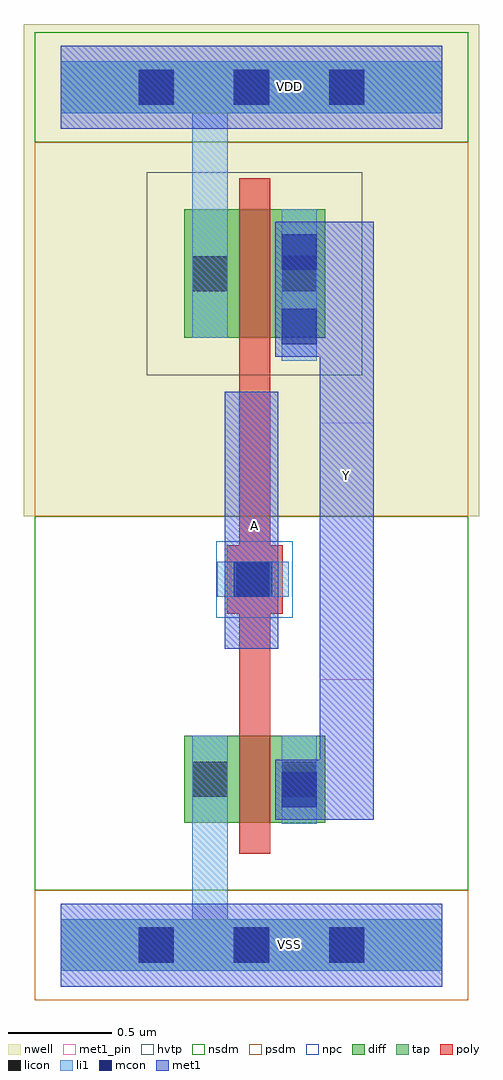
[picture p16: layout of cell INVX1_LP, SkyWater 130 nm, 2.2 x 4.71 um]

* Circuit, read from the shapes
.subckt INVX1_LP A VDD VSS Y
XM1 Y A VSS VSS sky130_fd_pr__nfet_01v8 w=0.42 l=0.15
XM2 Y A VDD VDD sky130_fd_pr__pfet_01v8_hvt w=0.62 l=0.15
.ends

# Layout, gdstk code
from math import pi, radians
import gdstk
lib = gdstk.Library(unit=1e-6, precision=1e-09)
def R(c, l, rs):  # rectangles x0, y0, x1, y1
    for r in rs: c.add(gdstk.rectangle(r[:2], r[2:], *l))
def A(c, l, x, y, w, h, nx, ny, dx, dy):  # array of equal rectangles
    R(c, l, [(x+i*dx, y+j*dy, x+i*dx+w, y+j*dy+h) for i in range(nx) for j in range(ny)])
def P(c, l, *ps):  # polygons
    for p in ps: c.add(gdstk.Polygon(p, *l))
nwell = (64, 20)
diff = (65, 20)
tap = (65, 44)
poly = (66, 20)
licon = (66, 44)
li1 = (67, 20)
mcon = (67, 44)
met1_pin = (68, 16)
met1 = (68, 20)
hvtp = (78, 44)
nsdm = (93, 44)
psdm = (94, 20)
npc = (95, 20)

l1m1_c_cdns_752016907002 = lib.new_cell('L1M1_C_CDNS_752016907002')
R(l1m1_c_cdns_752016907002, li1, [(-0.085,-0.345,0.085,0.345)])
R(l1m1_c_cdns_752016907002, mcon, [(-0.085,-0.265,0.085,-0.095), (-0.085,0.095,0.085,0.265)])
R(l1m1_c_cdns_752016907002, met1, [(-0.115,-0.325,0.115,0.325)])

l1m1_c_cdns_752016907003 = lib.new_cell('L1M1_C_CDNS_752016907003')
R(l1m1_c_cdns_752016907003, li1, [(-0.165,-0.085,0.165,0.085)])
R(l1m1_c_cdns_752016907003, mcon, [(-0.085,-0.085,0.085,0.085)])
R(l1m1_c_cdns_752016907003, met1, [(-0.115,-0.145,0.115,0.145)])

l1m1_c_cdns_752016907001 = lib.new_cell('L1M1_C_CDNS_752016907001')
R(l1m1_c_cdns_752016907001, li1, [(-0.085,-0.165,0.085,0.165)])
R(l1m1_c_cdns_752016907001, mcon, [(-0.085,-0.085,0.085,0.085)])
R(l1m1_c_cdns_752016907001, met1, [(-0.115,-0.145,0.115,0.145)])

pyl1con_c_cdns_752016907 = lib.new_cell('PYL1CON_C_CDNS_752016907000')
R(pyl1con_c_cdns_752016907, poly, [(-0.135,-0.165,0.135,0.165)])
R(pyl1con_c_cdns_752016907, licon, [(-0.085,-0.085,0.085,0.085)])
R(pyl1con_c_cdns_752016907, npc, [(-0.185,-0.185,0.185,0.185)])

invx1_lp = lib.new_cell('INVX1_LP')
R(invx1_lp, nwell, [(-0.18,2.07,2.02,4.445)])
R(invx1_lp, diff, [(0.595,0.59,1.275,1.01), (0.595,2.93,1.275,3.55)])
R(invx1_lp, poly, [(0.86,0.44,1.01,3.7)])
A(invx1_lp, licon, 0.375, -0.085, 0.17, 0.17, 3, 2, 0.46, 4.14)
R(invx1_lp, licon, [(0.635,0.715,0.805,0.885), (1.065,0.715,1.235,0.885), (0.635,3.155,0.805,3.325), (1.065,3.155,1.235,3.325)])
R(invx1_lp, li1, [(1.065,0.59,1.235,1.01), (1.065,2.93,1.235,3.55)])
P(invx1_lp, li1, [(1.84,4.265),(0,4.265),(0,4.015),(0.635,4.015),(0.635,2.93),(0.805,2.93),(0.805,4.015),(1.84,4.015)],
  [(1.84,0.125),(0.805,0.125),(0.805,1.01),(0.635,1.01),(0.635,0.125),(0,0.125),(0,-0.125),(1.84,-0.125)])
A(invx1_lp, mcon, 0.375, -0.085, 0.17, 0.17, 3, 2, 0.46, 4.14)
R(invx1_lp, met1_pin, [(1.25,1.28,1.51,2.52), (0.79,1.43,1.05,2.67)])
R(invx1_lp, hvtp, [(0.415,2.75,1.455,3.73)])
R(invx1_lp, nsdm, [(-0.125,0.265,1.965,2.07), (-0.125,3.875,1.965,4.405)])
R(invx1_lp, psdm, [(-0.125,-0.265,1.965,0.265), (-0.125,2.07,1.965,3.875)])
invx1_lp.add(gdstk.FlexPath([(1.38,3.49),(1.38,0.605)], 0.26, ends="flush", simple_path=True, layer=68, datatype=20))  # met1
invx1_lp.add(gdstk.FlexPath([(0,0),(1.84,0)], 0.4, ends="flush", simple_path=True, layer=68, datatype=20))  # met1
invx1_lp.add(gdstk.FlexPath([(0,4.14),(1.84,4.14)], 0.4, ends="flush", simple_path=True, layer=68, datatype=20))  # met1
invx1_lp.add(gdstk.FlexPath([(0.92,1.43),(0.92,2.67)], 0.26, ends="flush", simple_path=True, layer=68, datatype=20))  # met1
invx1_lp.add(gdstk.FlexPath([(0,0),(1.84,0)], 0.25, ends="flush", simple_path=True, layer=65, datatype=44))  # tap
invx1_lp.add(gdstk.FlexPath([(0,4.14),(1.84,4.14)], 0.25, ends="flush", simple_path=True, layer=65, datatype=44))  # tap
invx1_lp.add(gdstk.FlexPath([(0.755,1.765),(1.1,1.765)], 0.17, ends="flush", simple_path=True, layer=67, datatype=20))  # li1
invx1_lp.add(gdstk.FlexPath([(0,4.14),(1.84,4.14)], 0.4, ends="flush", simple_path=True, layer=68, datatype=16))  # met1_pin
invx1_lp.add(gdstk.FlexPath([(0,0),(1.84,0)], 0.4, ends="flush", simple_path=True, layer=68, datatype=16))  # met1_pin
invx1_lp.add(gdstk.Reference(l1m1_c_cdns_752016907002, (1.15,3.165)))
invx1_lp.add(gdstk.Reference(l1m1_c_cdns_752016907003, (0.92,1.765), x_reflection=True))
invx1_lp.add(gdstk.Reference(l1m1_c_cdns_752016907001, (1.15,0.75)))
invx1_lp.add(gdstk.Reference(pyl1con_c_cdns_752016907, (0.935,1.765), rotation=pi, x_reflection=True))
invx1_lp.add(gdstk.Label('VDD', (1.105,4.145), layer=68, texttype=5))
invx1_lp.add(gdstk.Label('VSS', (1.105,0.005), layer=68, texttype=5))
invx1_lp.add(gdstk.Label('A', (0.935,2.025), layer=68, texttype=5))
invx1_lp.add(gdstk.Label('Y', (1.38,2.265), layer=68, texttype=5))

lib.write_gds('INVX1_LP.gds')
